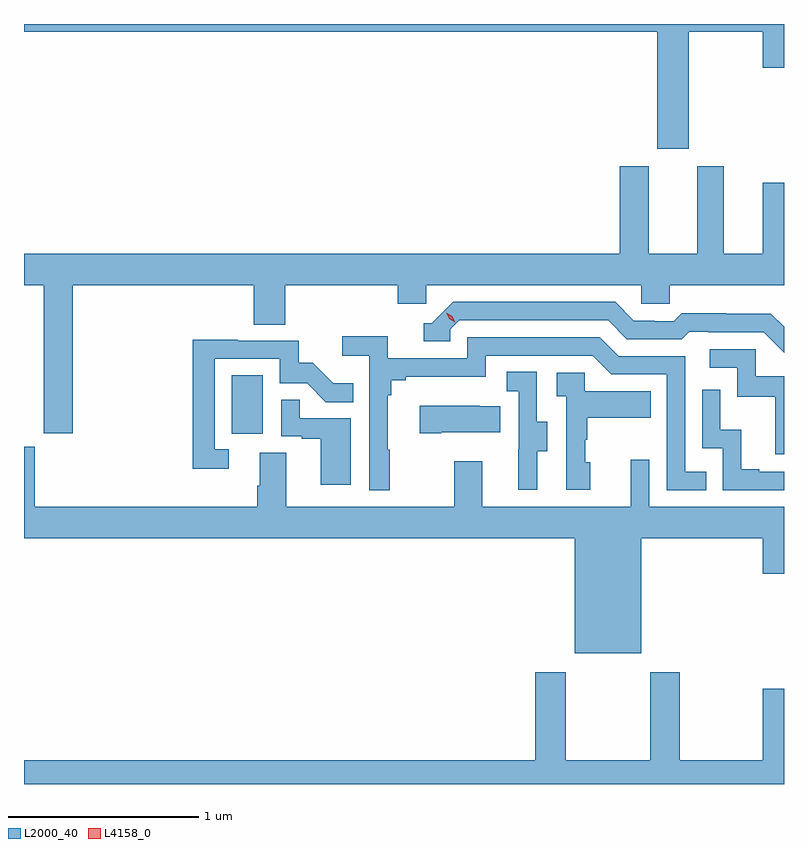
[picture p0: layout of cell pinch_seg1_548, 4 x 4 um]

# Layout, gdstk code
import gdstk
lib = gdstk.Library(unit=1e-6, precision=1e-09)
def R(c, l, rs):  # rectangles x0, y0, x1, y1
    for r in rs: c.add(gdstk.rectangle(r[:2], r[2:], *l))
def P(c, l, *ps):  # polygons
    for p in ps: c.add(gdstk.Polygon(p, *l))
L2000_40 = (2000, 40)
L4158_0 = (4158, 0)

pinch_seg1_548 = lib.new_cell('pinch_seg1_548')
R(pinch_seg1_548, L2000_40, [(1025.348,532.302,1025.512,532.609)])
P(pinch_seg1_548, L2000_40, [(1024.255,534.416),(1027.589,534.416),(1027.589,533.802),(1027.753,533.802),(1027.753,534.416),(1028.144,534.416),(1028.144,534.228),(1028.255,534.228),(1028.255,534.458),(1024.255,534.458)],
  [(1024.511,533.084),(1025.465,533.084),(1025.465,532.876),(1025.63,532.876),(1025.63,533.084),(1026.221,533.084),(1026.221,532.986),(1026.372,532.986),(1026.372,533.084),(1027.503,533.084),(1027.503,532.986),(1027.653,532.986),(1027.653,533.084),(1028.255,533.084),(1028.255,533.623),(1028.144,533.623),(1028.144,533.248),(1027.939,533.248),(1027.939,533.71),(1027.799,533.71),(1027.799,533.248),(1027.543,533.248),(1027.543,533.71),(1027.391,533.71),(1027.391,533.248),(1024.255,533.248),(1024.255,533.084),(1024.358,533.084),(1024.358,532.305),(1024.511,532.305)],
  [(1028.255,532.864),(1028.186,532.933),(1027.95,532.933),(1027.95,532.936),(1027.717,532.936),(1027.675,532.893),(1027.572,532.893),(1027.572,532.896),(1027.465,532.896),(1027.366,532.995),(1026.513,532.995),(1026.402,532.884),(1026.359,532.884),(1026.359,532.788),(1026.498,532.788),(1026.498,532.851),(1026.546,532.899),(1027.329,532.899),(1027.428,532.8),(1027.717,532.8),(1027.756,532.839),(1027.855,532.839),(1027.855,532.836),(1028.148,532.836),(1028.255,532.729)],
  [(1026.18,532.217),(1026.169,532.217),(1026.169,532.505),(1026.188,532.505),(1026.188,532.582),(1026.265,532.582),(1026.265,532.601),(1026.684,532.601),(1026.684,532.713),(1027.248,532.713),(1027.347,532.614),(1027.638,532.614),(1027.638,532.005),(1027.847,532.005),(1027.847,532.101),(1027.734,532.101),(1027.734,532.71),(1027.384,532.71),(1027.285,532.809),(1026.588,532.809),(1026.588,532.698),(1026.17,532.698),(1026.17,532.814),(1025.93,532.814),(1025.93,532.712),(1026.072,532.712),(1026.072,532.005),(1026.18,532.005)],
  [(1025.332,532.221),(1025.259,532.221),(1025.259,532.695),(1025.601,532.695),(1025.601,532.566),(1025.745,532.566),(1025.843,532.468),(1025.987,532.468),(1025.987,532.567),(1025.883,532.567),(1025.776,532.674),(1025.7,532.674),(1025.7,532.791),(1025.381,532.791),(1025.381,532.796),(1025.143,532.796),(1025.143,532.116),(1025.332,532.116)],
  [(1028.255,532.605),(1028.106,532.605),(1028.106,532.746),(1027.863,532.746),(1027.863,532.65),(1028.01,532.65),(1028.01,532.497),(1028.209,532.497),(1028.209,532.194),(1028.255,532.194)],
  [(1026.955,532.21),(1027.009,532.21),(1027.009,532.365),(1026.954,532.365),(1026.954,532.628),(1026.795,532.628),(1026.795,532.525),(1026.858,532.525),(1026.858,532.221),(1026.857,532.221),(1026.857,532.008),(1026.955,532.008)],
  [(1027.234,532.152),(1027.209,532.152),(1027.209,532.271),(1027.219,532.271),(1027.219,532.385),(1027.553,532.385),(1027.553,532.525),(1027.206,532.525),(1027.206,532.623),(1027.059,532.623),(1027.059,532.499),(1027.11,532.499),(1027.11,532.008),(1027.234,532.008)],
  [(1028.255,532.101),(1028.125,532.101),(1028.125,532.114),(1028.03,532.114),(1028.03,532.322),(1027.92,532.322),(1027.92,532.534),(1027.824,532.534),(1027.824,532.224),(1027.932,532.224),(1027.932,532.005),(1028.255,532.005)],
  [(1025.974,532.383),(1025.705,532.383),(1025.705,532.481),(1025.61,532.481),(1025.61,532.287),(1025.717,532.287),(1025.717,532.275),(1025.816,532.275),(1025.816,532.032),(1025.974,532.032)],
  [(1026.451,532.31),(1026.761,532.31),(1026.761,532.447),(1026.653,532.447),(1026.653,532.45),(1026.339,532.45),(1026.339,532.303),(1026.451,532.303)],
  [(1027.504,531.752),(1028.144,531.752),(1028.144,531.564),(1028.255,531.564),(1028.255,531.916),(1027.545,531.916),(1027.545,532.165),(1027.448,532.165),(1027.448,531.916),(1026.667,531.916),(1026.667,532.156),(1026.52,532.156),(1026.52,531.916),(1025.635,531.916),(1025.635,532.202),(1025.495,532.202),(1025.495,532.028),(1025.483,532.028),(1025.483,531.916),(1024.312,531.916),(1024.312,532.233),(1024.255,532.233),(1024.255,531.752),(1027.154,531.752),(1027.154,531.146),(1027.504,531.146)],
  [(1028.255,530.959),(1028.144,530.959),(1028.144,530.584),(1027.707,530.584),(1027.707,531.046),(1027.552,531.046),(1027.552,530.584),(1027.107,530.584),(1027.107,531.046),(1026.947,531.046),(1026.947,530.584),(1024.255,530.584),(1024.255,530.458),(1028.255,530.458)])
P(pinch_seg1_548, L4158_0, [(1026.524,532.887),(1026.493,532.906),(1026.477,532.939),(1026.477,532.939),(1026.477,532.939),(1026.508,532.92),(1026.524,532.887),(1026.524,532.887)])

lib.write_gds('pinch_seg1_548.gds')
